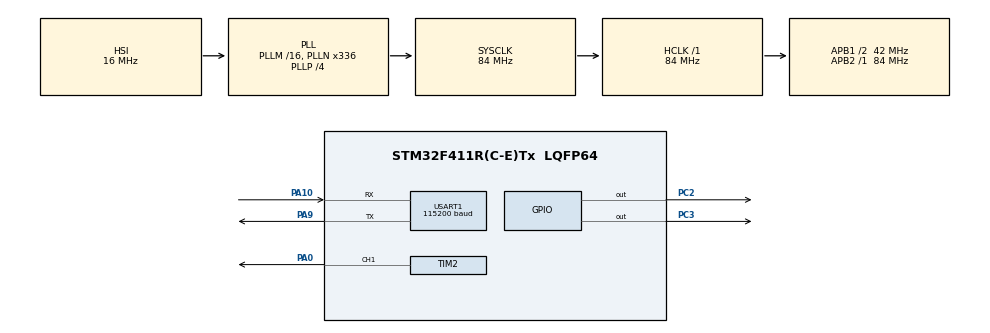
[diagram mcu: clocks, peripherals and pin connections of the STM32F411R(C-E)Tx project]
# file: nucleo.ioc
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Mcu.Family=STM32F4
Mcu.Name=STM32F411R(C-E)Tx
Mcu.Package=LQFP64
NVIC.PriorityGroup=NVIC_PRIORITYGROUP_0
NVIC.USART1_IRQn=true\:0\:0\:false\:false\:true\:true\:true\:true
PA0-WKUP.Signal=S_TIM2_CH1_ETR
PA10.Mode=Asynchronous
PA10.Signal=USART1_RX
PA9.Mode=Asynchronous
PA9.Signal=USART1_TX
PC14-OSC32_IN.Mode=LSE-External-Oscillator
PC14-OSC32_IN.Signal=RCC_OSC32_IN
PC15-OSC32_OUT.Mode=LSE-External-Oscillator
PC15-OSC32_OUT.Signal=RCC_OSC32_OUT
PC2.GPIO_Speed=GPIO_SPEED_FREQ_HIGH
PC2.Signal=GPIO_Output
PC3.GPIO_Speed=GPIO_SPEED_FREQ_HIGH
PC3.Signal=GPIO_Output
PH0\ -\ OSC_IN.Mode=HSE-External-Clock-Source
PH0\ -\ OSC_IN.Signal=RCC_OSC_IN
PH1\ -\ OSC_OUT.Mode=HSE-External-Clock-Source
PH1\ -\ OSC_OUT.Signal=RCC_OSC_OUT
ProjectManager.HeapSize=0x200
ProjectManager.StackSize=0x400
ProjectManager.TargetToolchain=STM32CubeIDE
RCC.48MHZClocksFreq_Value=84000000
RCC.AHBFreq_Value=84000000
RCC.APB1CLKDivider=RCC_HCLK_DIV2
RCC.APB1Freq_Value=42000000
RCC.APB1TimFreq_Value=84000000
RCC.APB2Freq_Value=84000000
RCC.APB2TimFreq_Value=84000000
RCC.CortexFreq_Value=84000000
RCC.FLatency-AdvancedSettings=FLASH_LATENCY_2
RCC.HCLKFreq_Value=84000000
RCC.HSE_VALUE=8000000
RCC.HSI_VALUE=16000000
RCC.PLLN=336
RCC.PLLP=RCC_PLLP_DIV4
RCC.SYSCLKFreq_VALUE=84000000
RCC.SYSCLKSource=RCC_SYSCLKSOURCE_PLLCLK
RCC.VCOOutputFreq_Value=336000000
SH.S_TIM2_CH1_ETR.0=TIM2_CH1,PWM Generation1 CH1
TIM2.Channel-PWM\ Generation1\ CH1=TIM_CHANNEL_1
TIM2.Period=99
TIM2.Prescaler=83
USART1.BaudRate=115200
USART1.Parity=PARITY_EVEN
USART1.VirtualMode=VM_ASYNC
USART1.WordLength=WORDLENGTH_9B
board=NUCLEO-F411RE

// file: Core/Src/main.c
/* USER CODE BEGIN Header */
/**
  ******************************************************************************
  * @file           : main.c
  * @brief          : Main program body
  ******************************************************************************
  * @attention
  *
  * Copyright (c) 2025 STMicroelectronics.
  * All rights reserved.
  *
  * This software is licensed under terms that can be found in the LICENSE file
  * in the root directory of this software component.
  * If no LICENSE file comes with this software, it is provided AS-IS.
  *
  ******************************************************************************
  */
/* USER CODE END Header */
#include "main.h"

/* USER CODE BEGIN Includes */
#include <stdio.h>
#include <string.h>
#include <stdlib.h>
/* USER CODE END Includes */

TIM_HandleTypeDef htim2;

UART_HandleTypeDef huart1;

void SystemClock_Config(void);
static void MX_GPIO_Init(void);
static void MX_USART1_UART_Init(void);
static void MX_TIM2_Init(void);
/* USER CODE BEGIN PFP */
uint8_t current_pwm = 0 ;
/* USER CODE END PFP */

/* USER CODE BEGIN 0 */
char rx_buffer[64];
uint8_t rx_data;
uint8_t rx_index = 0;

void Send_Current_Over_UART(float current)
{
    char buffer[32];
    snprintf(buffer, sizeof(buffer), "Current:%.3f\n", current);
    HAL_UART_Transmit(&huart1, (uint8_t*)buffer, strlen(buffer), HAL_MAX_DELAY);
}

void HAL_UART_RxCpltCallback(UART_HandleTypeDef *huart)
{
    if (huart->Instance == USART1)
    {
        if (rx_data != '\n' && rx_index < sizeof(rx_buffer) - 1)
        {
            rx_buffer[rx_index++] = rx_data;
        }
        else  // Satır bittiğinde komutu işle
        {
            rx_buffer[rx_index] = '\0';  // null terminator
            rx_index = 0;

            // PWM komutu mu?
            if (strncmp(rx_buffer, "PWM:", 4) == 0)
            {
                int pwm_value = atoi(&rx_buffer[4]);
                if (pwm_value >= 0 && pwm_value <= 100)
                {
                    __HAL_TIM_SET_COMPARE(&htim2, TIM_CHANNEL_1, pwm_value);
                }
            }

            // Yön komutu mu?
            else if (strcmp(rx_buffer, "FORWARD") == 0)
            {
                HAL_GPIO_WritePin(GPIOC, GPIO_PIN_3, GPIO_PIN_SET);
                HAL_GPIO_WritePin(GPIOC, GPIO_PIN_2, GPIO_PIN_RESET);
            }
            else if (strcmp(rx_buffer, "REVERSE") == 0)
            {
                HAL_GPIO_WritePin(GPIOC, GPIO_PIN_3, GPIO_PIN_RESET);
                HAL_GPIO_WritePin(GPIOC, GPIO_PIN_2, GPIO_PIN_SET);
            }
            else if (strcmp(rx_buffer, "STOP") == 0)
            {
                HAL_GPIO_WritePin(GPIOC, GPIO_PIN_3, GPIO_PIN_RESET);
                HAL_GPIO_WritePin(GPIOC, GPIO_PIN_2, GPIO_PIN_RESET);
                __HAL_TIM_SET_COMPARE(&htim2, TIM_CHANNEL_1, 0);  // PWM sıfırla
            }
        }

        // UART yeniden dinlemeye alınır
        HAL_UART_Receive_IT(&huart1, &rx_data, sizeof(rx_data));
    }
}

/* USER CODE END 0 */

int main(void)
{

  /* MCU Configuration--------------------------------------------------------*/

  /* Reset of all peripherals, Initializes the Flash interface and the Systick. */
  HAL_Init();

  /* Configure the system clock */
  SystemClock_Config();

  /* Initialize all configured peripherals */
  MX_GPIO_Init();
  MX_USART1_UART_Init();
  MX_TIM2_Init();
  /* USER CODE BEGIN 2 */
  HAL_UART_Receive_IT(&huart1,&rx_data,sizeof(rx_data));

  HAL_TIM_PWM_Start(&htim2, TIM_CHANNEL_1);

  /* USER CODE END 2 */

  /* Infinite loop */
  while (1)
  {

    /* USER CODE BEGIN 3 */
	    float dummy_current = 0.085f + ((rand() % 20) / 1000.0f);  // 0.085 – 0.105 arası
	    Send_Current_Over_UART(dummy_current);
	    HAL_Delay(5000);  // 1 saniyede bir gönder
  }
  /* USER CODE END 3 */
}

void SystemClock_Config(void)
{
  RCC_OscInitTypeDef RCC_OscInitStruct = {0};
  RCC_ClkInitTypeDef RCC_ClkInitStruct = {0};

  /** Configure the main internal regulator output voltage
  */
  __HAL_RCC_PWR_CLK_ENABLE();
  __HAL_PWR_VOLTAGESCALING_CONFIG(PWR_REGULATOR_VOLTAGE_SCALE1);

  /** Initializes the RCC Oscillators according to the specified parameters
  * in the RCC_OscInitTypeDef structure.
  */
  RCC_OscInitStruct.OscillatorType = RCC_OSCILLATORTYPE_HSI;
  RCC_OscInitStruct.HSIState = RCC_HSI_ON;
  RCC_OscInitStruct.HSICalibrationValue = RCC_HSICALIBRATION_DEFAULT;
  RCC_OscInitStruct.PLL.PLLState = RCC_PLL_ON;
  RCC_OscInitStruct.PLL.PLLSource = RCC_PLLSOURCE_HSI;
  RCC_OscInitStruct.PLL.PLLM = 16;
  RCC_OscInitStruct.PLL.PLLN = 336;
  RCC_OscInitStruct.PLL.PLLP = RCC_PLLP_DIV4;
  RCC_OscInitStruct.PLL.PLLQ = 4;
  if (HAL_RCC_OscConfig(&RCC_OscInitStruct) != HAL_OK)
  {
    Error_Handler();
  }

  /** Initializes the CPU, AHB and APB buses clocks
  */
  RCC_ClkInitStruct.ClockType = RCC_CLOCKTYPE_HCLK|RCC_CLOCKTYPE_SYSCLK
                              |RCC_CLOCKTYPE_PCLK1|RCC_CLOCKTYPE_PCLK2;
  RCC_ClkInitStruct.SYSCLKSource = RCC_SYSCLKSOURCE_PLLCLK;
  RCC_ClkInitStruct.AHBCLKDivider = RCC_SYSCLK_DIV1;
  RCC_ClkInitStruct.APB1CLKDivider = RCC_HCLK_DIV2;
  RCC_ClkInitStruct.APB2CLKDivider = RCC_HCLK_DIV1;

  if (HAL_RCC_ClockConfig(&RCC_ClkInitStruct, FLASH_LATENCY_2) != HAL_OK)
  {
    Error_Handler();
  }
}

static void MX_TIM2_Init(void)
{

  TIM_MasterConfigTypeDef sMasterConfig = {0};
  TIM_OC_InitTypeDef sConfigOC = {0};

  htim2.Instance = TIM2;
  htim2.Init.Prescaler = 83;
  htim2.Init.CounterMode = TIM_COUNTERMODE_UP;
  htim2.Init.Period = 99;
  htim2.Init.ClockDivision = TIM_CLOCKDIVISION_DIV1;
  htim2.Init.AutoReloadPreload = TIM_AUTORELOAD_PRELOAD_DISABLE;
  if (HAL_TIM_PWM_Init(&htim2) != HAL_OK)
  {
    Error_Handler();
  }
  sMasterConfig.MasterOutputTrigger = TIM_TRGO_RESET;
  sMasterConfig.MasterSlaveMode = TIM_MASTERSLAVEMODE_DISABLE;
  if (HAL_TIMEx_MasterConfigSynchronization(&htim2, &sMasterConfig) != HAL_OK)
  {
    Error_Handler();
  }
  sConfigOC.OCMode = TIM_OCMODE_PWM1;
  sConfigOC.Pulse = 0;
  sConfigOC.OCPolarity = TIM_OCPOLARITY_HIGH;
  sConfigOC.OCFastMode = TIM_OCFAST_DISABLE;
  if (HAL_TIM_PWM_ConfigChannel(&htim2, &sConfigOC, TIM_CHANNEL_1) != HAL_OK)
  {
    Error_Handler();
  }
  HAL_TIM_MspPostInit(&htim2);

}

static void MX_USART1_UART_Init(void)
{

  huart1.Instance = USART1;
  huart1.Init.BaudRate = 115200;
  huart1.Init.WordLength = UART_WORDLENGTH_9B;
  huart1.Init.StopBits = UART_STOPBITS_1;
  huart1.Init.Parity = UART_PARITY_EVEN;
  huart1.Init.Mode = UART_MODE_TX_RX;
  huart1.Init.HwFlowCtl = UART_HWCONTROL_NONE;
  huart1.Init.OverSampling = UART_OVERSAMPLING_16;
  if (HAL_UART_Init(&huart1) != HAL_OK)
  {
    Error_Handler();
  }

}

static void MX_GPIO_Init(void)
{
  GPIO_InitTypeDef GPIO_InitStruct = {0};

  /* GPIO Ports Clock Enable */
  __HAL_RCC_GPIOC_CLK_ENABLE();
  __HAL_RCC_GPIOH_CLK_ENABLE();
  __HAL_RCC_GPIOA_CLK_ENABLE();

  /*Configure GPIO pin Output Level */
  HAL_GPIO_WritePin(GPIOC, GPIO_PIN_2|GPIO_PIN_3, GPIO_PIN_RESET);

  /*Configure GPIO pins : PC2 PC3 */
  GPIO_InitStruct.Pin = GPIO_PIN_2|GPIO_PIN_3;
  GPIO_InitStruct.Mode = GPIO_MODE_OUTPUT_PP;
  GPIO_InitStruct.Pull = GPIO_NOPULL;
  GPIO_InitStruct.Speed = GPIO_SPEED_FREQ_HIGH;
  HAL_GPIO_Init(GPIOC, &GPIO_InitStruct);

}

void Error_Handler(void)
{
  __disable_irq();
  while (1)
  {
  }
}
